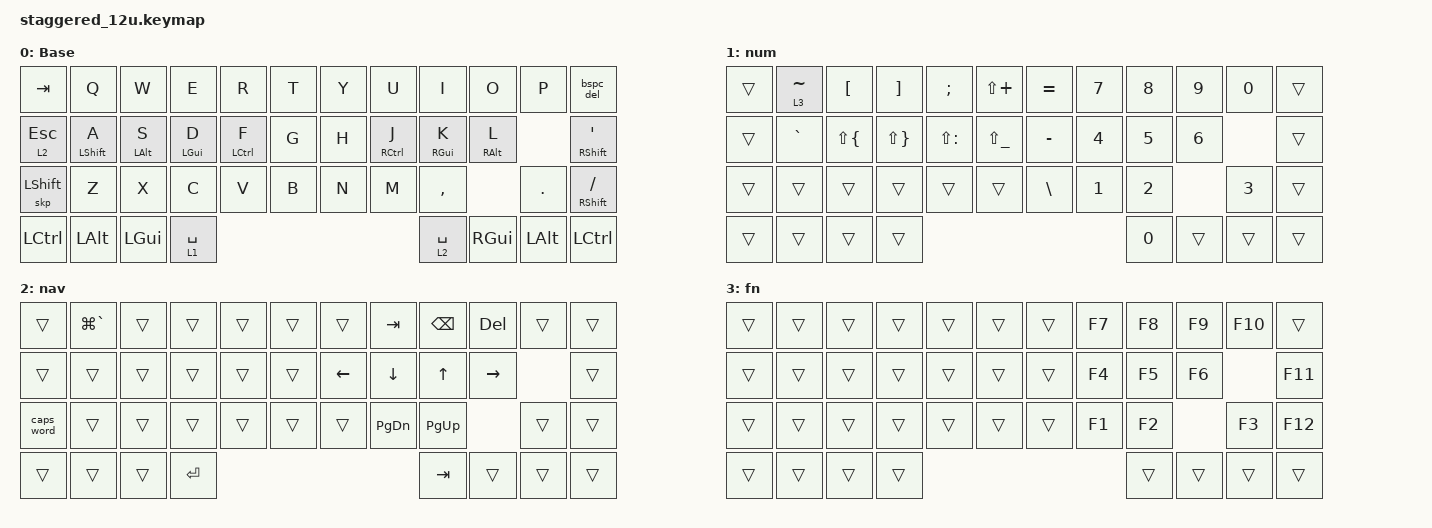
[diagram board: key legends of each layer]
/*
 * Copyright (c) 2023 sporkus
 *
 * SPDX-License-Identifier: MIT
 */

#include <behaviors.dtsi>
#include <dt-bindings/zmk/keys.h>

#define COMBO_FAST 25
#define COMBO_SLOW 75

&lt {
    quick_tap_ms = <200>;
    flavor = "balanced";
};

/ {
    combos {
        compatible = "zmk,combos";

        esc_combo {
            bindings = <&kp ESC>;
            global-quick-tap-ms = <30>;
            timeout-ms = <COMBO_FAST>;
            key-positions = <15 14>;
        };

        enter_combo {
            bindings = <&kp ENTER>;
            global-quick-tap-ms = <30>;
            timeout-ms = <COMBO_FAST>;
            key-positions = <19 20>;
        };

        bspc_combo {
            bindings = <&bspc_del>;
            key-positions = <20 21>;
            timeout-ms = <COMBO_FAST>;
        };

        tab_combo {
            bindings = <&kp TAB>;
            key-positions = <16 15>;
            global-quick-tap-ms = <30>;
            timeout-ms = <COMBO_FAST>;
        };

        copy_combo {
            bindings = <&kp LC(INS)>;
            key-positions = <15 26>;
            global-quick-tap-ms = <80>;
            timeout-ms = <COMBO_SLOW>;
            layers = <0>;
        };

        paste_combo {
            bindings = <&kp LS(INS)>;
            global-quick-tap-ms = <80>;
            timeout-ms = <COMBO_SLOW>;
            key-positions = <27 16>;
        };

        lbkt_combo {
            bindings = <&kp LBKT>;
            key-positions = <2 14>;
            global-quick-tap-ms = <100>;
            timeout-ms = <COMBO_SLOW>;
        };

        lbrc_combo {
            bindings = <&kp LBRC>;
            key-positions = <3 15>;
            global-quick-tap-ms = <100>;
            timeout-ms = <COMBO_SLOW>;
        };

        lpar_combo {
            bindings = <&kp LPAR>;
            key-positions = <4 16>;
            global-quick-tap-ms = <100>;
            timeout-ms = <COMBO_SLOW>;
        };

        lt_combo {
            bindings = <&kp LT>;
            key-positions = <17 5>;
            global-quick-tap-ms = <100>;
            timeout-ms = <COMBO_SLOW>;
        };

        gt_combo {
            bindings = <&kp GT>;
            key-positions = <18 6>;
            global-quick-tap-ms = <100>;
            timeout-ms = <COMBO_SLOW>;
        };

        rpar_combo {
            bindings = <&kp RPAR>;
            key-positions = <7 19>;
            global-quick-tap-ms = <100>;
            timeout-ms = <COMBO_SLOW>;
        };

        rbrc_combo {
            bindings = <&kp RBRC>;
            key-positions = <20 8>;
            global-quick-tap-ms = <100>;
            timeout-ms = <COMBO_SLOW>;
        };

        rbkt_combo {
            bindings = <&kp RBKT>;
            key-positions = <9 21>;
            global-quick-tap-ms = <100>;
            timeout-ms = <COMBO_SLOW>;
        };

        bootloader_combo {
            bindings = <&bootloader>;
            key-positions = <1 10 2 9>;
            global-quick-tap-ms = <100>;
            timeout-ms = <COMBO_SLOW>;
        };

        vol_up_combo {
            bindings = <&kp C_VOL_UP>;
            key-positions = <20 31>;
        };

        vol_dn_combo {
            bindings = <&kp C_VOL_DN>;
            key-positions = <19 30>;
        };

        media_prv_combo {
            bindings = <&kp C_PREV>;
            key-positions = <18 29>;
        };

        media_nxt_combo {
            bindings = <&kp C_NEXT>;
            key-positions = <21 32>;
        };

        printscreen_combo {
            bindings = <&kp PRINTSCREEN>;
            key-positions = <14 15 16>;
        };
    };

    behaviors {
        lp: lp {
            compatible = "zmk,behavior-hold-tap";
            label = "(hold, tap)";
            bindings =
                <&kp>,
                <&kp>;

            #binding-cells = <2>;
            tapping-term-ms = <180>;
            quick-tap-ms = <250>;
            flavor = "tap-preferred";
        };
        skp: skp {
            compatible = "zmk,behavior-sticky-key";
            label = "sticky key";
            bindings = <&kp>;
            #binding-cells = <1>;
            quick-release;
            release-after-ms = <300>;
            ignore-modifiers;
        };
        hrm_l: hrm_l {
            compatible = "zmk,behavior-hold-tap";
            label = "left homerow mods";
            bindings =
                <&kp>,
                <&kp>;

            #binding-cells = <2>;
            tapping-term-ms = <180>;
            quick-tap-ms = <200>;
            global-quick-tap-ms = <120>;
            flavor = "tap-preferred";
            hold-trigger-key-positions = <18 29 19 6 6 7 8 9 10 11 18 19 20 21 22 29 30 31 32 33 38 40 41 39>;
            hold-trigger-on-release;
        };
        hrm_r: hrm_r {
            compatible = "zmk,behavior-hold-tap";
            label = "right homerow mods";
            bindings =
                <&kp>,
                <&kp>;

            #binding-cells = <2>;
            tapping-term-ms = <180>;
            quick-tap-ms = <200>;
            global-quick-tap-ms = <120>;
            flavor = "tap-preferred";
            hold-trigger-key-positions = <0 1 2 3 4 5 12 13 14 15 16 17 23 24 25 26 27 28 34 35 36 37>;
            hold-trigger-on-release;
        };
        nav_t: nav_t {
            compatible = "zmk,behavior-hold-tap";
            label = "NAV_T";
            bindings =
                <&mo>,
                <&kp>;

            #binding-cells = <2>;
            tapping-term-ms = <250>;
            quick-tap-ms = <200>;
            flavor = "balanced";
            hold-trigger-key-positions = <20 18 19 21 7 8 30 31 9 23 1 37 38>;
        };
        lt_hold: lt_hold {
            compatible = "zmk,behavior-hold-tap";
            label = "LT_HOLD";
            bindings =
                <&mo>,
                <&kp>;

            #binding-cells = <2>;
            tapping-term-ms = <250>;
            quick-tap-ms = <250>;
        };
        bspc_del: bspc_del {
            compatible = "zmk,behavior-mod-morph";
            label = "BSPC_DEL";
            bindings =
                <&kp BSPC>,
                <&kp DEL>;

            #binding-cells = <0>;
            mods = <(MOD_LSFT|MOD_RSFT)>;
        };
        mt_hold_l: mt_hold_l {
            compatible = "zmk,behavior-hold-tap";
            label = "MT_HOLD_L";
            bindings =
                <&kp>,
                <&kp>;

            #binding-cells = <2>;
            tapping-term-ms = <250>;
            quick-tap-ms = <200>;
            hold-trigger-key-positions = <6 7 8 9 10 11 18 19 20 21 22 29 30 31 32 33 39 40 41>;
            hold-trigger-on-release;
            flavor = "hold-preferred";
        };
        mt_hold_r: mt_hold_r {
            compatible = "zmk,behavior-hold-tap";
            label = "MT_HOLD_R";
            bindings =
                <&kp>,
                <&kp>;

            #binding-cells = <2>;
            tapping-term-ms = <250>;
            quick-tap-ms = <250>;
            hold-trigger-key-positions = <0 1 2 3 4 5 12 13 14 15 16 17 23 24 25 26 27 34 35 36 37 28>;
            hold-trigger-on-release;
            flavor = "hold-preferred";
        };
    };

    keymap {
        compatible = "zmk,keymap";

        BASE {
            label = "Base";
            bindings = <
       &kp TAB                &kp Q              &kp W              &kp E             &kp R  &kp T  &kp Y                   &kp U               &kp I          &kp O         &kp P                    &bspc_del
&lt_hold 2 ESC  &hrm_l LEFT_SHIFT A  &hrm_l LEFT_ALT S  &hrm_l LEFT_GUI D    &hrm_l LCTRL F  &kp G  &kp H  &hrm_r RIGHT_CONTROL J  &hrm_r RIGHT_GUI K  &hrm_r RALT L                 &mt_hold_r RIGHT_SHIFT SQT
    &skp LSHFT                &kp Z              &kp X              &kp C             &kp V  &kp B  &kp N                   &kp M           &kp COMMA                      &kp DOT  &mt_hold_r RIGHT_SHIFT FSLH
     &kp LCTRL             &kp LALT           &kp LGUI                     &lt_hold 1 SPACE                        &nav_t 2 SPACE                      &kp RIGHT_GUI  &kp LEFT_ALT                    &kp LCTRL
            >;
        };

        num {
            bindings = <
&trans  &lt 3 TILDE      &kp LBKT      &kp RBKT       &kp SEMI   &kp LS(PLUS)  &kp EQUAL  &kp N7  &kp N8  &kp N9  &kp N0  &trans
&trans    &kp GRAVE  &kp LS(LBRC)  &kp LS(RBRC)  &kp LS(COLON)  &kp LS(UNDER)  &kp MINUS  &kp N4  &kp N5  &kp N6          &trans
&trans       &trans        &trans        &trans         &trans         &trans   &kp BSLH  &kp N1  &kp N2          &kp N3  &trans
&trans       &trans        &trans                       &trans                            &kp N0          &trans  &trans  &trans
            >;
        };

        nav {
            bindings = <
    &trans  &kp LG(GRAVE)  &trans  &trans     &trans  &trans    &trans        &kp TAB   &kp BSPC    &kp DEL  &trans  &trans
    &trans         &trans  &trans  &trans     &trans  &trans  &kp LEFT       &kp DOWN     &kp UP  &kp RIGHT          &trans
&caps_word         &trans  &trans  &trans     &trans  &trans    &trans  &kp PAGE_DOWN  &kp PG_UP             &trans  &trans
    &trans         &trans  &trans          &kp ENTER                          &kp TAB                &trans  &trans  &trans
            >;
        };

        fn {
            bindings = <
&trans  &trans  &trans  &trans  &trans  &trans  &trans  &kp F7  &kp F8  &kp F9  &kp F10   &trans
&trans  &trans  &trans  &trans  &trans  &trans  &trans  &kp F4  &kp F5  &kp F6           &kp F11
&trans  &trans  &trans  &trans  &trans  &trans  &trans  &kp F1  &kp F2           &kp F3  &kp F12
&trans  &trans  &trans          &trans                  &trans          &trans   &trans   &trans
            >;
        };
    };
};
